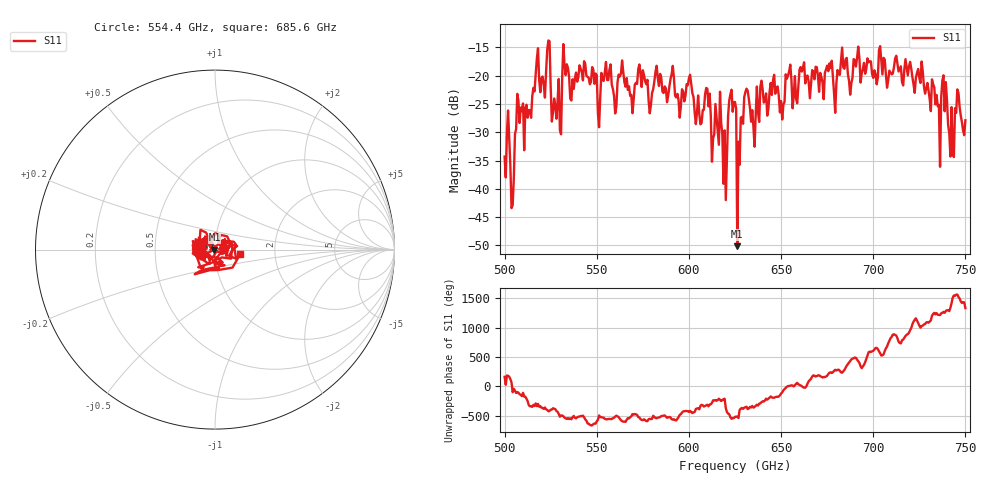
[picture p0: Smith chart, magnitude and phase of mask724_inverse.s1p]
!Created with skrf (http://scikit-rf.org).
# GHz S MA R 50.0
!freq magS11 angS11
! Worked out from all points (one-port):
!   401 points, 500 GHz to 750 GHz, reference 50 ohm
!   lowest |S11| = -50.1 dB at 626.2 GHz (marker M1), VSWR 1.01, Z = 49.7 - j0.121 ohm
!   |S11| at or under -10 dB: start of sweep to end of sweep
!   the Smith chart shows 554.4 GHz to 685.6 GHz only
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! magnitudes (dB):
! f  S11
! 500 GHz  -34.3
! 504.4 GHz  -42.9
! 507.5 GHz  -24.4
! 511.9 GHz  -25.1
! 517.5 GHz  -17.0
! 523.8 GHz  -13.8
! 526.9 GHz  -24.0
! 531.2 GHz  -20.3
! 533.1 GHz  -19.9
! 551.9 GHz  -23.9
! 562.5 GHz  -20.1
! 593.8 GHz  -23.2
! 610 GHz  -22.3
! 619.4 GHz  -29.7
! 622.5 GHz  -23.3
! 624.4 GHz  -24.7
! 625 GHz  -24.6
! 626.2 GHz  -50.1
! 631.2 GHz  -22.3
! 635 GHz  -29.1
! 656.2 GHz  -25.8
! 687.5 GHz  -23.4
! 718.8 GHz  -19.9
! 735 GHz  -25.4
! 738.8 GHz  -26.3
! 742.5 GHz  -25.6
! 745.6 GHz  -22.4
! 750 GHz  -27.9
